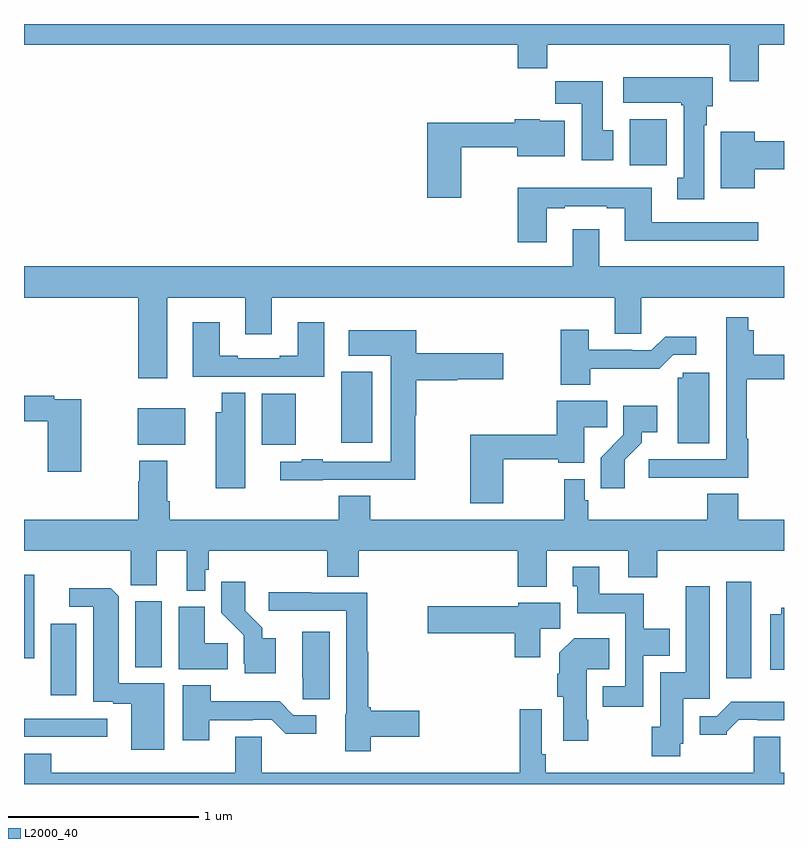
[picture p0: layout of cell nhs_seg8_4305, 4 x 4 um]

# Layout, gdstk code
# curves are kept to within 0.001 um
import gdstk
lib = gdstk.Library(unit=1e-6, precision=1e-09)
def R(c, l, rs):  # rectangles x0, y0, x1, y1
    for r in rs: c.add(gdstk.rectangle(r[:2], r[2:], *l))
def P(c, l, *ps):  # polygons
    for p in ps: c.add(gdstk.Polygon(p, *l))
L2000_40 = (2000, 40)

nhs_seg8_4305 = lib.new_cell('nhs_seg8_4305')
R(nhs_seg8_4305, L2000_40, [(373,1154.148,373.438,1154.244), (373.142,1154.367,373.276,1154.743), (376.697,1154.457,376.828,1154.965), (373.586,1154.515,373.726,1154.862), (373,1154.562,373.054,1155.001), (373.598,1155.686,373.849,1155.877), (374.252,1155.686,374.431,1155.955), (374.669,1155.696,374.833,1156.069), (376.187,1157.156,376.384,1157.398)])
P(nhs_seg8_4305, L2000_40, [(376.868,1157.792),(377,1157.792),(377,1157.9),(373,1157.9),(373,1157.792),(375.599,1157.792),(375.599,1157.668),(375.755,1157.668),(375.755,1157.792),(376.715,1157.792),(376.715,1157.598),(376.868,1157.598)],
  [(376.579,1157.366),(376.594,1157.366),(376.594,1157.466),(376.624,1157.466),(376.624,1157.62),(376.155,1157.62),(376.155,1157.486),(376.459,1157.486),(376.459,1157.473),(376.472,1157.473),(376.472,1157.09),(376.439,1157.09),(376.439,1156.977),(376.579,1156.977)],
  [(376.102,1157.34),(376.045,1157.34),(376.045,1157.599),(375.796,1157.599),(375.796,1157.48),(375.935,1157.48),(375.935,1157.184),(376.102,1157.184)],
  [(375.3,1157.251),(375.596,1157.251),(375.596,1157.204),(375.847,1157.204),(375.847,1157.392),(375.714,1157.392),(375.714,1157.398),(375.584,1157.398),(375.584,1157.38),(375.122,1157.38),(375.122,1156.986),(375.3,1156.986)],
  [(376.846,1157.135),(377,1157.135),(377,1157.282),(376.846,1157.282),(376.846,1157.332),(376.667,1157.332),(376.667,1157.036),(376.846,1157.036)],
  [(375.751,1156.929),(375.847,1156.929),(375.847,1156.941),(376.067,1156.941),(376.067,1156.929),(376.163,1156.929),(376.163,1156.76),(376.864,1156.76),(376.864,1156.857),(376.303,1156.857),(376.303,1157.038),(375.599,1157.038),(375.599,1156.752),(375.751,1156.752)],
  [(373.753,1156.46),(374.165,1156.46),(374.165,1156.266),(374.305,1156.266),(374.305,1156.46),(376.109,1156.46),(376.109,1156.27),(376.248,1156.27),(376.248,1156.46),(377,1156.46),(377,1156.624),(376.027,1156.624),(376.027,1156.819),(375.887,1156.819),(375.887,1156.624),(373,1156.624),(373,1156.46),(373.601,1156.46),(373.601,1156.035),(373.753,1156.035)],
  [(376.511,1155.513),(376.811,1155.513),(376.811,1155.716),(376.804,1155.716),(376.804,1156.03),(377,1156.03),(377,1156.159),(376.841,1156.159),(376.841,1156.288),(376.811,1156.288),(376.811,1156.357),(376.695,1156.357),(376.695,1155.609),(376.287,1155.609),(376.287,1155.511),(376.511,1155.511)],
  [(374.581,1156.33),(374.441,1156.33),(374.441,1156.153),(374.345,1156.153),(374.345,1156.14),(374.125,1156.14),(374.125,1156.153),(374.029,1156.153),(374.029,1156.33),(373.889,1156.33),(373.889,1156.044),(374.581,1156.044)],
  [(375.981,1156.086),(376.343,1156.085),(376.416,1156.158),(376.537,1156.158),(376.537,1156.255),(376.375,1156.255),(376.302,1156.182),(376.202,1156.182),(376.202,1156.185),(375.973,1156.185),(375.973,1156.291),(375.826,1156.291),(375.826,1156.001),(375.981,1156.001)],
  [(374.573,1155.501),(375.06,1155.501),(375.06,1155.841),(375.065,1155.841),(375.065,1156.025),(375.279,1156.025),(375.279,1156.03),(375.523,1156.03),(375.523,1156.167),(375.065,1156.167),(375.065,1156.288),(374.709,1156.288),(374.709,1156.154),(374.93,1156.154),(374.93,1155.597),(374.573,1155.597),(374.573,1155.61),(374.461,1155.61),(374.461,1155.597),(374.349,1155.597),(374.349,1155.5),(374.573,1155.5)],
  [(376.606,1156.065),(376.467,1156.065),(376.467,1156.038),(376.442,1156.038),(376.442,1155.694),(376.606,1155.694)],
  [(374.164,1155.959),(374.042,1155.959),(374.042,1155.856),(374.009,1155.856),(374.009,1155.456),(374.164,1155.456)],
  [(373.302,1155.924),(373.16,1155.924),(373.16,1155.944),(373,1155.944),(373,1155.808),(373.124,1155.808),(373.124,1155.543),(373.302,1155.543)],
  [(375.522,1155.609),(375.812,1155.609),(375.812,1155.59),(375.949,1155.59),(375.949,1155.778),(376.07,1155.778),(376.07,1155.916),(375.805,1155.916),(375.805,1155.737),(375.61,1155.737),(375.61,1155.738),(375.349,1155.738),(375.349,1155.378),(375.522,1155.378)],
  [(376.162,1155.607),(376.252,1155.697),(376.252,1155.752),(376.333,1155.752),(376.333,1155.892),(376.155,1155.892),(376.155,1155.737),(376.036,1155.618),(376.036,1155.456),(376.162,1155.456)],
  [(373.953,1155.027),(373.973,1155.027),(373.973,1155.128),(374.597,1155.128),(374.597,1154.992),(374.762,1154.992),(374.762,1155.128),(375.599,1155.128),(375.599,1154.939),(375.751,1154.939),(375.751,1155.128),(376.181,1155.128),(376.181,1154.987),(376.334,1154.987),(376.334,1155.128),(377,1155.128),(377,1155.292),(376.76,1155.292),(376.76,1155.428),(376.595,1155.428),(376.595,1155.292),(375.971,1155.292),(375.971,1155.393),(375.951,1155.393),(375.951,1155.505),(375.843,1155.505),(375.843,1155.292),(374.822,1155.292),(374.822,1155.416),(374.657,1155.416),(374.657,1155.292),(373.766,1155.292),(373.766,1155.388),(373.753,1155.388),(373.753,1155.601),(373.606,1155.601),(373.606,1155.494),(373.601,1155.494),(373.601,1155.292),(373,1155.292),(373,1155.128),(373.561,1155.128),(373.561,1154.947),(373.699,1154.947),(373.699,1155.128),(373.856,1155.128),(373.856,1154.918),(373.953,1154.918)],
  [(376.26,1154.576),(376.399,1154.576),(376.399,1154.716),(376.263,1154.716),(376.263,1154.902),(376.027,1154.902),(376.027,1155.043),(375.887,1155.043),(375.887,1154.94),(375.911,1154.94),(375.911,1154.798),(376.164,1154.798),(376.164,1154.415),(376.047,1154.415),(376.047,1154.307),(376.26,1154.307)],
  [(374.326,1154.668),(374.254,1154.668),(374.254,1154.723),(374.164,1154.813),(374.164,1154.965),(374.038,1154.965),(374.038,1154.802),(374.157,1154.683),(374.157,1154.532),(374.162,1154.532),(374.162,1154.483),(374.326,1154.483)],
  [(376.455,1154.112),(376.471,1154.112),(376.471,1154.349),(376.609,1154.349),(376.609,1154.941),(376.484,1154.941),(376.484,1154.488),(376.349,1154.488),(376.349,1154.202),(376.303,1154.202),(376.303,1154.046),(376.455,1154.046)],
  [(373.738,1154.43),(373.498,1154.43),(373.498,1154.888),(373.457,1154.93),(373.239,1154.93),(373.239,1154.832),(373.364,1154.832),(373.364,1154.334),(373.469,1154.334),(373.469,1154.322),(373.565,1154.322),(373.565,1154.079),(373.738,1154.079)],
  [(374.826,1154.15),(375.079,1154.15),(375.079,1154.285),(374.826,1154.285),(374.826,1154.303),(374.813,1154.303),(374.813,1154.595),(374.806,1154.595),(374.806,1154.907),(374.513,1154.907),(374.513,1154.91),(374.289,1154.91),(374.289,1154.811),(374.697,1154.811),(374.697,1154.268),(374.69,1154.268),(374.69,1154.072),(374.826,1154.072)],
  [(375.718,1154.716),(375.823,1154.716),(375.823,1154.854),(375.6,1154.854),(375.6,1154.835),(375.126,1154.835),(375.126,1154.693),(375.584,1154.693),(375.584,1154.568),(375.718,1154.568)],
  [(374.072,1154.642),(373.951,1154.642),(373.951,1154.833),(373.814,1154.833),(373.814,1154.504),(374.072,1154.504)],
  [(377,1154.827),(376.986,1154.827),(376.986,1154.794),(376.928,1154.794),(376.928,1154.501),(377,1154.501)],
  [(374.608,1154.701),(374.465,1154.701),(374.465,1154.458),(374.466,1154.458),(374.466,1154.347),(374.608,1154.347)],
  [(375.969,1154.239),(375.961,1154.239),(375.961,1154.504),(376.079,1154.504),(376.079,1154.668),(375.896,1154.668),(375.818,1154.59),(375.818,1154.48),(375.806,1154.48),(375.806,1154.358),(375.839,1154.358),(375.839,1154.127),(375.969,1154.127)],
  [(373.975,1154.235),(374.204,1154.235),(374.204,1154.238),(374.304,1154.238),(374.377,1154.165),(374.539,1154.165),(374.539,1154.262),(374.418,1154.262),(374.345,1154.335),(373.983,1154.335),(373.983,1154.419),(373.835,1154.419),(373.835,1154.13),(373.975,1154.13)],
  [(376.698,1154.174),(376.762,1154.238),(376.861,1154.238),(376.861,1154.235),(377,1154.235),(377,1154.332),(376.723,1154.332),(376.647,1154.256),(376.556,1154.256),(376.556,1154.159),(376.698,1154.159)],
  [(377,1153.96),(376.981,1153.96),(376.981,1154.15),(376.841,1154.15),(376.841,1153.96),(375.746,1153.96),(375.746,1154.056),(375.726,1154.056),(375.726,1154.293),(375.61,1154.293),(375.61,1153.96),(374.25,1153.96),(374.25,1154.15),(374.111,1154.15),(374.111,1153.96),(373.143,1153.96),(373.143,1154.059),(373,1154.059),(373,1153.9),(377,1153.9)])

lib.write_gds('nhs_seg8_4305.gds')
